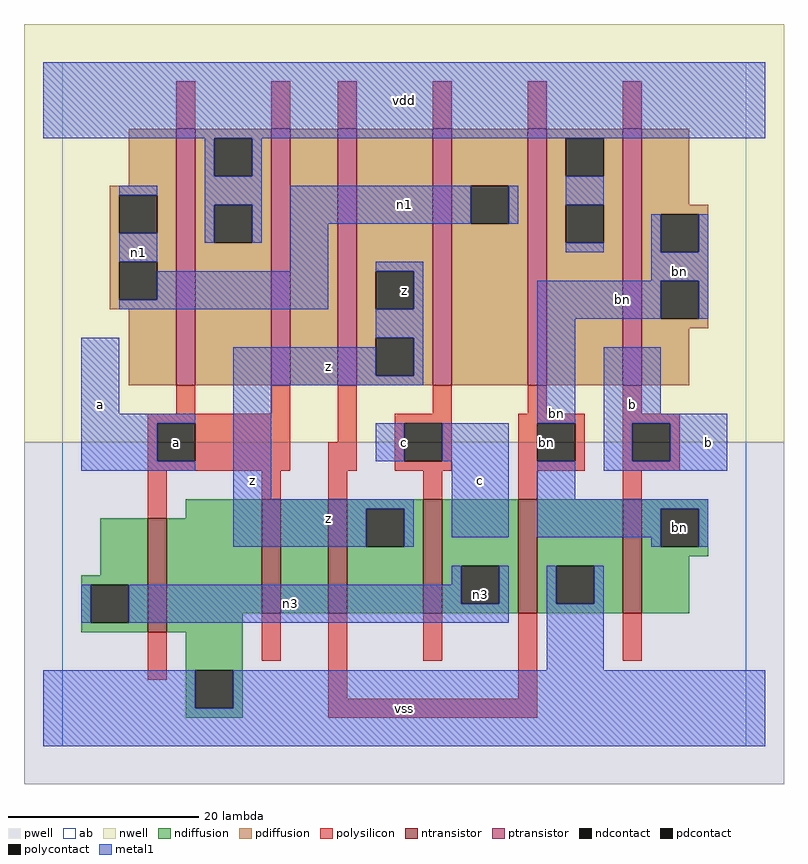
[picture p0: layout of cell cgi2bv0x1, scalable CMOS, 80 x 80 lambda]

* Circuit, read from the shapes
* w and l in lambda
.subckt cgi2bv0x1 a b bn c n1 n3 vdd vss z
M1 vss a n3 VSUBS nfet w=12 l=2
M2 n2 a vss VSUBS nfet w=12 l=2
M3 z bn n2 VSUBS nfet w=12 l=2
M4 n3 c z VSUBS nfet w=12 l=2
M5 vss bn n3 VSUBS nfet w=12 l=2
M6 bn b vss VSUBS nfet w=12 l=2
M7 vdd a n1 n4 pfet w=27 l=2
M8 n5 a vdd n4 pfet w=27 l=2
M9 z bn n5 n4 pfet w=27 l=2
M10 n1 c z n4 pfet w=27 l=2
M11 vdd bn n1 n4 pfet w=27 l=2
M12 bn b vdd n4 pfet w=27 l=2
.ends

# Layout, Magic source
magic
tech scmos
<< ab >>
rect 0 0 72 72
<< pwell >>
rect -4 -4 76 32
<< nwell >>
rect -4 32 76 76
<< polysilicon >>
rect 12 65 14 70
rect 22 65 24 70
rect 29 65 31 70
rect 39 65 41 70
rect 49 65 51 70
rect 59 65 61 70
rect 12 35 14 38
rect 22 35 24 38
rect 9 34 24 35
rect 9 30 10 34
rect 14 30 24 34
rect 29 32 31 38
rect 39 35 41 38
rect 49 35 51 38
rect 59 35 61 38
rect 9 29 24 30
rect 28 29 31 32
rect 35 34 41 35
rect 35 30 36 34
rect 40 30 41 34
rect 35 29 41 30
rect 48 34 55 35
rect 48 30 50 34
rect 54 30 55 34
rect 48 29 55 30
rect 59 34 65 35
rect 59 30 60 34
rect 64 30 65 34
rect 59 29 65 30
rect 9 24 11 29
rect 21 26 23 29
rect 28 26 30 29
rect 38 26 40 29
rect 48 26 50 29
rect 59 26 61 29
rect 9 7 11 12
rect 21 9 23 14
rect 28 5 30 14
rect 38 9 40 14
rect 48 5 50 14
rect 59 9 61 14
rect 28 3 50 5
<< ndiffusion >>
rect 13 24 21 26
rect 4 18 9 24
rect 2 17 9 18
rect 2 13 3 17
rect 7 13 9 17
rect 2 12 9 13
rect 11 14 21 24
rect 23 14 28 26
rect 30 25 38 26
rect 30 21 32 25
rect 36 21 38 25
rect 30 14 38 21
rect 40 19 48 26
rect 40 15 42 19
rect 46 15 48 19
rect 40 14 48 15
rect 50 19 59 26
rect 50 15 52 19
rect 56 15 59 19
rect 50 14 59 15
rect 61 25 68 26
rect 61 21 63 25
rect 67 21 68 25
rect 61 20 68 21
rect 61 14 66 20
rect 11 12 19 14
rect 13 8 19 12
rect 13 4 14 8
rect 18 4 19 8
rect 13 3 19 4
<< pdiffusion >>
rect 7 59 12 65
rect 5 58 12 59
rect 5 54 6 58
rect 10 54 12 58
rect 5 51 12 54
rect 5 47 6 51
rect 10 47 12 51
rect 5 46 12 47
rect 7 38 12 46
rect 14 64 22 65
rect 14 60 16 64
rect 20 60 22 64
rect 14 57 22 60
rect 14 53 16 57
rect 20 53 22 57
rect 14 38 22 53
rect 24 38 29 65
rect 31 50 39 65
rect 31 46 33 50
rect 37 46 39 50
rect 31 43 39 46
rect 31 39 33 43
rect 37 39 39 43
rect 31 38 39 39
rect 41 59 49 65
rect 41 55 43 59
rect 47 55 49 59
rect 41 38 49 55
rect 51 64 59 65
rect 51 60 53 64
rect 57 60 59 64
rect 51 57 59 60
rect 51 53 53 57
rect 57 53 59 57
rect 51 38 59 53
rect 61 57 66 65
rect 61 56 68 57
rect 61 52 63 56
rect 67 52 68 56
rect 61 49 68 52
rect 61 45 63 49
rect 67 45 68 49
rect 61 44 68 45
rect 61 38 66 44
<< metal1 >>
rect -2 64 74 72
rect 15 60 16 64
rect 20 60 21 64
rect 6 58 10 59
rect 6 51 10 54
rect 15 57 21 60
rect 15 53 16 57
rect 20 53 21 57
rect 24 55 43 59
rect 47 55 48 59
rect 53 57 57 60
rect 24 50 28 55
rect 53 52 57 53
rect 62 52 63 56
rect 67 52 68 56
rect 10 47 28 50
rect 6 46 28 47
rect 33 50 38 51
rect 37 46 38 50
rect 62 49 68 52
rect 33 43 38 46
rect 2 35 6 43
rect 18 39 33 42
rect 37 39 38 43
rect 18 38 38 39
rect 50 45 63 49
rect 67 45 68 49
rect 2 34 14 35
rect 2 30 10 34
rect 2 29 14 30
rect 18 26 22 38
rect 50 34 54 45
rect 33 30 36 34
rect 40 30 47 34
rect 18 25 37 26
rect 18 21 32 25
rect 36 21 37 25
rect 41 22 47 30
rect 50 26 54 30
rect 57 35 63 42
rect 57 34 70 35
rect 57 30 60 34
rect 64 30 70 34
rect 57 29 70 30
rect 50 25 68 26
rect 50 22 63 25
rect 62 21 63 22
rect 67 21 68 25
rect 41 17 42 19
rect 2 13 3 17
rect 7 15 42 17
rect 46 15 47 19
rect 7 13 47 15
rect 51 15 52 19
rect 56 15 57 19
rect 51 8 57 15
rect -2 4 14 8
rect 18 4 74 8
rect -2 0 74 4
<< ntransistor >>
rect 9 12 11 24
rect 21 14 23 26
rect 28 14 30 26
rect 38 14 40 26
rect 48 14 50 26
rect 59 14 61 26
<< ptransistor >>
rect 12 38 14 65
rect 22 38 24 65
rect 29 38 31 65
rect 39 38 41 65
rect 49 38 51 65
rect 59 38 61 65
<< polycontact >>
rect 10 30 14 34
rect 36 30 40 34
rect 50 30 54 34
rect 60 30 64 34
<< ndcontact >>
rect 3 13 7 17
rect 32 21 36 25
rect 42 15 46 19
rect 52 15 56 19
rect 63 21 67 25
rect 14 4 18 8
<< pdcontact >>
rect 6 54 10 58
rect 6 47 10 51
rect 16 60 20 64
rect 16 53 20 57
rect 33 46 37 50
rect 33 39 37 43
rect 43 55 47 59
rect 53 60 57 64
rect 53 53 57 57
rect 63 52 67 56
rect 63 45 67 49
<< labels >>
rlabel polycontact 51 32 51 32 6 bn
rlabel polycontact 12 32 12 32 6 a
rlabel metal1 4 36 4 36 6 a
rlabel metal1 8 52 8 52 6 n1
rlabel metal1 20 28 20 28 6 z
rlabel metal1 28 24 28 24 6 z
rlabel metal1 28 40 28 40 6 z
rlabel metal1 36 4 36 4 6 vss
rlabel metal1 24 15 24 15 6 n3
rlabel ndcontact 44 16 44 16 6 n3
rlabel metal1 36 32 36 32 6 c
rlabel metal1 44 28 44 28 6 c
rlabel metal1 52 35 52 35 6 bn
rlabel pdcontact 36 48 36 48 6 z
rlabel metal1 36 57 36 57 6 n1
rlabel metal1 36 68 36 68 6 vdd
rlabel ndcontact 65 23 65 23 6 bn
rlabel metal1 68 32 68 32 6 b
rlabel metal1 60 36 60 36 6 b
rlabel metal1 59 47 59 47 6 bn
rlabel metal1 65 50 65 50 6 bn
<< end >>
